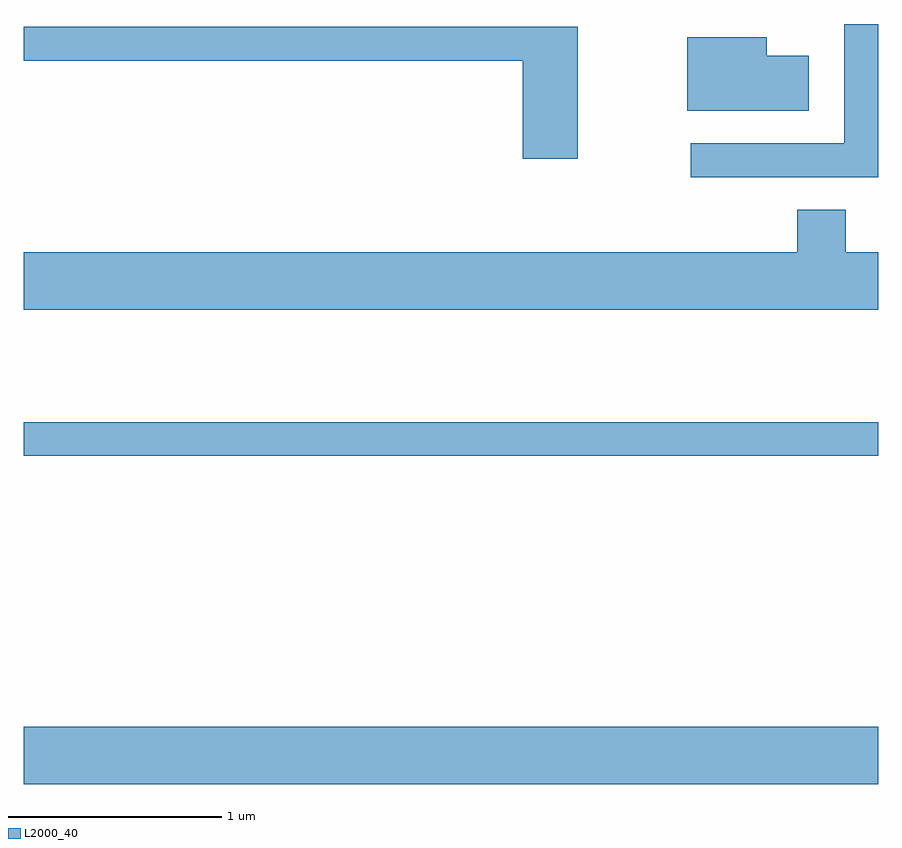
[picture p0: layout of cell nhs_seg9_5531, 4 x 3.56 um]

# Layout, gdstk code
import gdstk
lib = gdstk.Library(unit=1e-6, precision=1e-09)
def R(c, l, rs):  # rectangles x0, y0, x1, y1
    for r in rs: c.add(gdstk.rectangle(r[:2], r[2:], *l))
def P(c, l, *ps):  # polygons
    for p in ps: c.add(gdstk.Polygon(p, *l))
L2000_40 = (2000, 40)

nhs_seg9_5531 = lib.new_cell('nhs_seg9_5531')
R(nhs_seg9_5531, L2000_40, [(347.611,2042.876,351.611,2043.144), (347.611,2044.411,351.611,2044.569)])
P(nhs_seg9_5531, L2000_40, [(351.609,2046.432),(351.451,2046.432),(351.451,2045.874),(350.733,2045.874),(350.733,2045.716),(351.609,2045.716)],
  [(350.204,2046.419),(347.611,2046.419),(347.611,2046.261),(349.946,2046.261),(349.946,2045.801),(350.204,2045.801)],
  [(351.284,2046.284),(351.089,2046.284),(351.089,2046.369),(350.716,2046.369),(350.716,2046.026),(351.284,2046.026)],
  [(351.611,2045.364),(351.459,2045.364),(351.459,2045.564),(351.231,2045.564),(351.231,2045.364),(347.611,2045.364),(347.611,2045.096),(351.611,2045.096)])

lib.write_gds('nhs_seg9_5531.gds')
